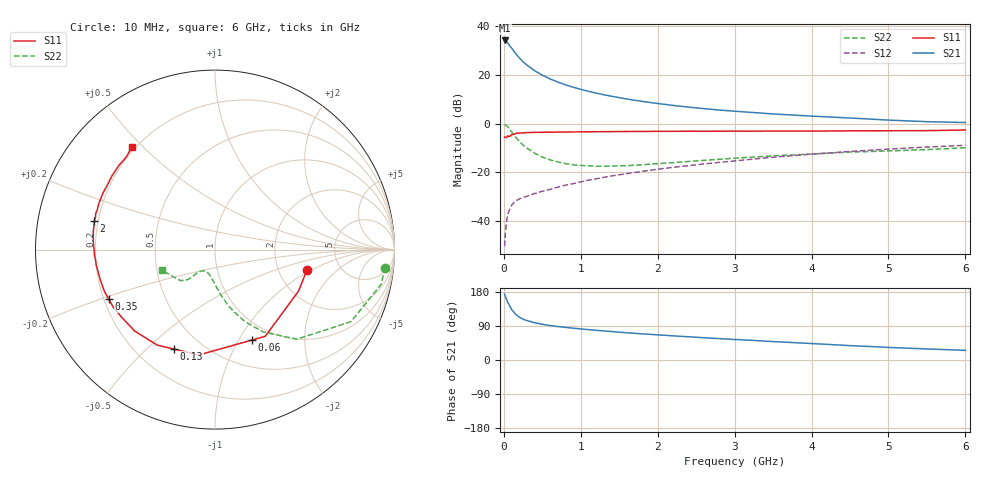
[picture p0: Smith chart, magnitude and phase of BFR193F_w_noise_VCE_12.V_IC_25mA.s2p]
! Infineon Technologies  Discrete & RF Semiconductors
! BFR193F
! VCE =  12. V,  IC =  25 mA
! Common Emitter S-Parameters:  Jan 2017
# GHz  S  MA  R  50
!  f  S11  S21  S12  S22
! GHz  MAG  ANG  MAG  ANG  MAG  ANG  MAG  ANG
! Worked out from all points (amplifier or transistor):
!   77 points, 10 MHz to 6 GHz, reference 50 ohm
!   highest |S21| = 34.2 dB at 10 MHz (marker M1)
!   |S21| within 3 dB of that: start of sweep to 97.58 MHz
!   unconditionally stable (mu >= 1): 1.257 GHz to 2.754 GHz
!   at 130 MHz: K = 0.32, MSG = 31.2 dB, |S12| = -32.6 dB
!   at 2.2 GHz: K = 1.02, MAG = 11.8 dB, |S12| = -18.0 dB
!   at 6 GHz: K = 0.83, MSG = 4.7 dB, |S12| = -9.0 dB
!   lowest NFmin = 1.11 dB at 450 MHz
!   S11 on the Smith chart (normalised r, x): 10 MHz: 2.89, -0.90; 60 MHz: 0.80, -1.14; 130 MHz: 0.35, -0.61; 350 MHz: 0.22, -0.21; 2 GHz: 0.18, +0.11; 6 GHz: 0.19, +0.46
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0.01  0.5248 -12.4  51.13 173.7  0.003 75.0  0.9541 -6.0
0.02  0.5196 -26.4  49.98 167.6  0.0055 76.0  0.9449 -11.9
0.05  0.5585 -59.9  45.54 152.2  0.0135 66.5  0.8578 -27.9
0.06  0.5445 -67.7  43.26 149.1  0.0149 63.3  0.8148 -31.1
0.1  0.5933 -98.6  35.83 132.9  0.0209 55.0  0.6758 -47.6
0.13  0.5993 -112.4  30.95 126.5  0.0234 51.1  0.5856 -54.1
0.15  0.6219 -121.1  27.99 121.0  0.0251 49.0  0.5309 -59.7
0.2  0.6373 -134.6  22.54 113.1  0.0281 46.8  0.4335 -67.5
0.25  0.6424 -144.2  18.64 107.8  0.0302 46.8  0.3601 -73.1
0.3  0.6516 -150.5  15.9 103.9  0.0319 47.0  0.3119 -77.5
0.35  0.6531 -154.9  14.02 101.4  0.0341 48.3  0.278 -80.2
0.4  0.6585 -159.3  12.18 98.1  0.0363 49.5  0.2449 -83.7
0.5  0.6608 -164.9  9.875 94.2  0.0404 52.6  0.2048 -88.4
0.6  0.6631 -169.2  8.292 91.0  0.0441 55.9  0.1785 -92.6
0.8  0.6682 -175.2  6.263 86.1  0.0539 59.9  0.1499 -100.0
1.1  0.6767 178.5  4.598 80.1  0.0684 64.7  0.1351 -108.8
2  0.6915 166.8  2.582 66.3  0.1145 70.3  0.1497 -125.3
2.1  0.6907 165.9  2.468 65.1  0.12 70.5  0.1532 -125.9
3.1  0.6963 156.9  1.746 53.1  0.1762 70.9  0.198 -129.8
4.1  0.7003 148.0  1.396 42.4  0.2405 68.5  0.2402 -134.6
5.1  0.7116 137.9  1.158 32.4  0.3037 63.8  0.2766 -146.6
6  0.7355 129.2  1.049 25.4  0.3563 58.8  0.3173 -158.7
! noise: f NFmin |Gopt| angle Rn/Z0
0.45  1.11  0.36  173  0.06
0.9  1.19  0.41  174  0.06
1.9  1.77  0.57  -169  0.07
2.4  2.06  0.61  -160  0.11
